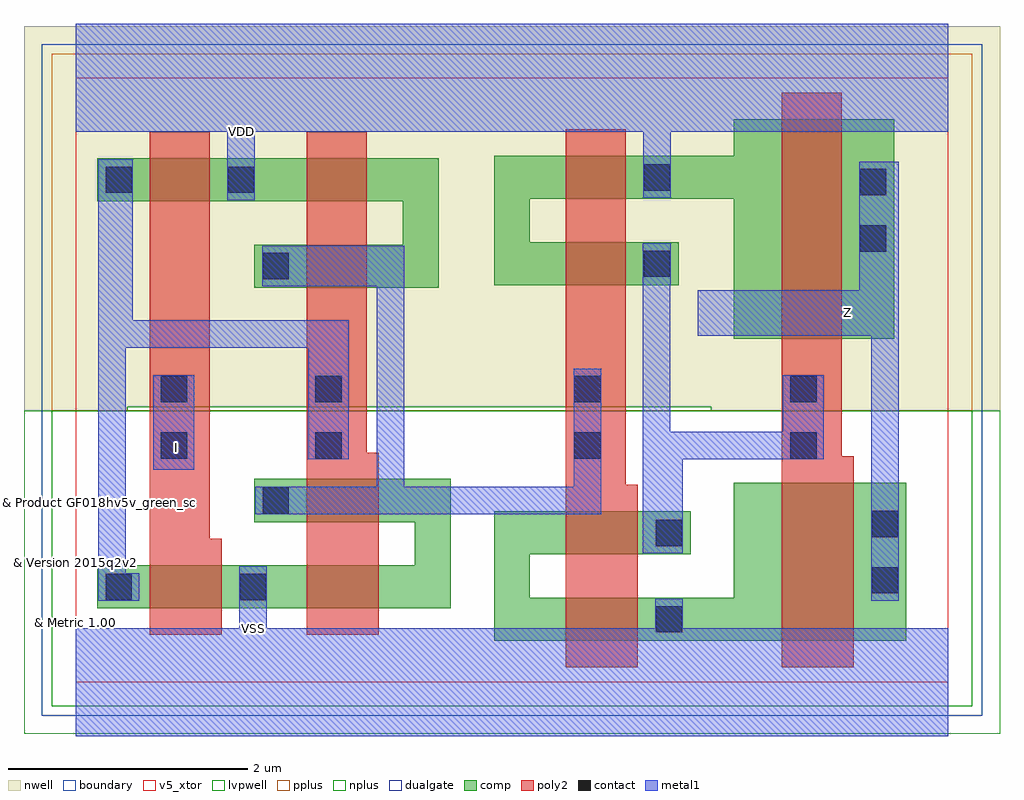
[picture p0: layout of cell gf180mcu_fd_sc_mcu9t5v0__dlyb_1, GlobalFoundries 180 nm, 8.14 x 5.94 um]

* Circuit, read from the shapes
.subckt gf180mcu_fd_sc_mcu9t5v0__dlyb_1 I VDD VSS Z
XM1 VSS I n1 VSUBS nfet_05v0 w=0.36u l=0.6u
XM2 n2 n1 VSS VSUBS nfet_05v0 w=0.36u l=0.6u
XM3 n2 n1 n3 VSUBS nfet_05v0 w=0.36u l=0.6u
XM4 VSS n3 n4 VSUBS nfet_05v0 w=0.36u l=0.6u
XM5 n5 n3 n4 VSUBS nfet_05v0 w=0.36u l=0.6u
XM6 Z n5 VSS VSUBS nfet_05v0 w=1.32u l=0.6u
XM7 VDD I n1 n6 pfet_05v0 w=0.36u l=0.5u
XM8 n7 n1 n3 n6 pfet_05v0 w=0.36u l=0.5u
XM9 n7 n1 VDD n6 pfet_05v0 w=0.36u l=0.5u
XM10 n5 n3 n8 n6 pfet_05v0 w=0.36u l=0.5u
XM11 VDD n3 n8 n6 pfet_05v0 w=0.36u l=0.5u
XM12 Z n5 VDD n6 pfet_05v0 w=1.83u l=0.5u
.ends

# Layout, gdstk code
import gdstk
lib = gdstk.Library(unit=1e-6, precision=1e-09)
def R(c, l, rs):  # rectangles x0, y0, x1, y1
    for r in rs: c.add(gdstk.rectangle(r[:2], r[2:], *l))
def P(c, l, *ps):  # polygons
    for p in ps: c.add(gdstk.Polygon(p, *l))
boundary = (0, 0)
nwell = (21, 0)
comp = (22, 0)
poly2 = (30, 0)
pplus = (31, 0)
nplus = (32, 0)
contact = (33, 0)
metal1 = (34, 0)
dualgate = (55, 0)
v5_xtor = (112, 1)
lvpwell = (204, 0)

gf180mcu_fd_sc_mcu9t5v0_ = lib.new_cell('gf180mcu_fd_sc_mcu9t5v0__dlyb_1')
R(gf180mcu_fd_sc_mcu9t5v0_, boundary, [(0,0,7.28,5.04)])
P(gf180mcu_fd_sc_mcu9t5v0_, nwell, [(-0.43,2.265),(-0.43,5.47),(7.71,5.47),(7.71,2.265),(5.3,2.265),(5.3,2.295),(0.43,2.295),(0.43,2.265)])
P(gf180mcu_fd_sc_mcu9t5v0_, comp, [(1.49,3.29),(1.49,3.65),(2.73,3.65),(2.73,4.01),(0.18,4.01),(0.18,4.37),(3.03,4.37),(3.03,3.29)],
  [(0.18,0.615),(0.18,0.975),(2.83,0.975),(2.83,1.335),(1.49,1.335),(1.49,1.695),(3.13,1.695),(3.13,0.615)],
  [(5.49,2.865),(5.49,4.03),(3.79,4.03),(3.79,3.67),(5.03,3.67),(5.03,3.31),(3.49,3.31),(3.49,4.39),(5.49,4.39),(5.49,4.695),(6.83,4.695),(6.83,2.865)],
  [(3.49,0.345),(3.49,1.425),(5.13,1.425),(5.13,1.065),(3.79,1.065),(3.79,0.705),(5.49,0.705),(5.49,1.665),(6.93,1.665),(6.93,0.345)])
P(gf180mcu_fd_sc_mcu9t5v0_, poly2, [(0.62,0.395),(0.62,4.59),(1.12,4.59),(1.12,1.195),(1.22,1.195),(1.22,0.395)],
  [(1.93,0.395),(1.93,4.59),(2.43,4.59),(2.43,1.915),(2.53,1.915),(2.53,0.395)],
  [(4.09,0.125),(4.09,4.61),(4.59,4.61),(4.59,1.645),(4.69,1.645),(4.69,0.125)],
  [(5.89,0.125),(5.89,4.915),(6.39,4.915),(6.39,1.885),(6.49,1.885),(6.49,0.125)])
R(gf180mcu_fd_sc_mcu9t5v0_, pplus, [(-0.2,2.265,7.48,5.24)])
R(gf180mcu_fd_sc_mcu9t5v0_, nplus, [(-0.2,-0.2,7.48,2.265)])
R(gf180mcu_fd_sc_mcu9t5v0_, contact, [(4.84,0.415,5.06,0.635), (0.25,0.685,0.47,0.905), (1.37,0.685,1.59,0.905), (6.64,0.74,6.86,0.96), (4.84,1.135,5.06,1.355), (6.64,1.21,6.86,1.43), (1.56,1.405,1.78,1.625), (0.71,1.865,0.93,2.085), (2,1.865,2.22,2.085), (4.16,1.865,4.38,2.085), (5.96,1.865,6.18,2.085), (0.71,2.335,0.93,2.555), (2,2.335,2.22,2.555), (4.16,2.335,4.38,2.555), (5.96,2.335,6.18,2.555), (1.56,3.36,1.78,3.58), (4.74,3.38,4.96,3.6), (6.54,3.59,6.76,3.81), (6.54,4.06,6.76,4.28), (0.25,4.08,0.47,4.3), (1.27,4.08,1.49,4.3), (4.74,4.1,4.96,4.32)])
R(gf180mcu_fd_sc_mcu9t5v0_, metal1, [(0.65,1.77,0.99,2.56)])
P(gf180mcu_fd_sc_mcu9t5v0_, metal1, [(0.19,0.68),(0.19,4.36),(0.475,4.36),(0.475,3.02),(2.28,3.02),(2.28,1.86),(1.94,1.86),(1.94,2.79),(0.42,2.79),(0.42,0.91),(0.53,0.91),(0.53,0.68)],
  [(1.5,1.4),(1.5,1.63),(2.51,1.63),(2.51,3.3),(1.555,3.3),(1.555,3.64),(2.74,3.64),(2.74,1.63),(4.155,1.63),(4.155,2.615),(4.385,2.615),(4.385,1.4)],
  [(4.73,1.075),(4.73,3.66),(4.965,3.66),(4.965,3.32),(4.96,3.32),(4.96,2.09),(5.9,2.09),(5.9,2.56),(6.24,2.56),(6.24,1.86),(5.065,1.86),(5.065,1.075)],
  [(6.635,0.68),(6.635,2.89),(5.19,2.89),(5.19,3.27),(6.535,3.27),(6.535,4.34),(6.865,4.34),(6.865,0.68)],
  [(0,-0.45),(0,0.45),(1.365,0.45),(1.365,0.965),(1.595,0.965),(1.595,0.45),(4.835,0.45),(4.835,0.695),(5.065,0.695),(5.065,0.45),(7.28,0.45),(7.28,-0.45)],
  [(1.265,4.02),(1.265,4.59),(0,4.59),(0,5.49),(7.28,5.49),(7.28,4.59),(4.965,4.59),(4.965,4.04),(4.735,4.04),(4.735,4.59),(1.495,4.59),(1.495,4.02)])
R(gf180mcu_fd_sc_mcu9t5v0_, dualgate, [(-0.28,-0.28,7.56,5.32)])
R(gf180mcu_fd_sc_mcu9t5v0_, v5_xtor, [(0,0,7.28,5.04)])
P(gf180mcu_fd_sc_mcu9t5v0_, lvpwell, [(-0.43,-0.43),(-0.43,2.265),(0.43,2.265),(0.43,2.295),(5.3,2.295),(5.3,2.265),(7.71,2.265),(7.71,-0.43)])
gf180mcu_fd_sc_mcu9t5v0_.add(gdstk.Label('I', (0.84,1.96), layer=34, texttype=10))
gf180mcu_fd_sc_mcu9t5v0_.add(gdstk.Label('VDD', (1.38,4.59), layer=34, texttype=10))
gf180mcu_fd_sc_mcu9t5v0_.add(gdstk.Label('VSS', (1.48,0.45), layer=34, texttype=10))
gf180mcu_fd_sc_mcu9t5v0_.add(gdstk.Label('Z', (6.44,3.08), layer=34, texttype=10))
gf180mcu_fd_sc_mcu9t5v0_.add(gdstk.Label('& Vendor GLOBALFOUNDRIES', (0,2), layer=63, texttype=63))
gf180mcu_fd_sc_mcu9t5v0_.add(gdstk.Label('& Product GF018hv5v_green_sc9', (0,1.5), layer=63, texttype=63))
gf180mcu_fd_sc_mcu9t5v0_.add(gdstk.Label('& Version 2015q2v2', (0,1), layer=63, texttype=63))
gf180mcu_fd_sc_mcu9t5v0_.add(gdstk.Label('& Metric 1.00', (0,0.5), layer=63, texttype=63))

lib.write_gds('gf180mcu_fd_sc_mcu9t5v0__dlyb_1.gds')
